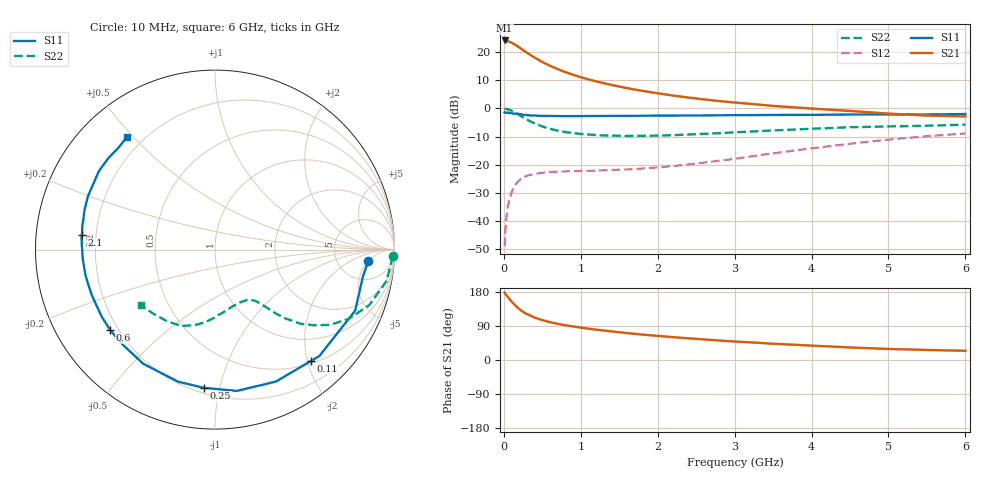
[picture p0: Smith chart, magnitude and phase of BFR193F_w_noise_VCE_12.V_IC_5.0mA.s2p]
! Infineon Technologies  Discrete & RF Semiconductors
! BFR193F
! VCE =  12. V,  IC =  5.0 mA
! Common Emitter S-Parameters:  Jan 2017
# GHz  S  MA  R  50
!  f  S11  S21  S12  S22
! GHz  MAG  ANG  MAG  ANG  MAG  ANG  MAG  ANG
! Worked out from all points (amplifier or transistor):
!   77 points, 10 MHz to 6 GHz, reference 50 ohm
!   highest |S21| = 24.1 dB at 10 MHz (marker M1)
!   |S21| within 3 dB of that: start of sweep to 228 MHz
!   unconditionally stable (mu >= 1): 1.871 GHz to 2.965 GHz
!   at 130 MHz: K = 0.11, MSG = 25.5 dB, |S12| = -28.0 dB
!   at 2.2 GHz: K = 1.06, MAG = 11.0 dB, |S12| = -20.4 dB
!   at 6 GHz: K = 0.75, MSG = 3.0 dB, |S12| = -8.9 dB
!   lowest NFmin = 0.81 dB at 450 MHz
!   S11 on the Smith chart (normalised r, x): 10 MHz: 11, -5; 110 MHz: 0.55, -2.06; 250 MHz: 0.23, -0.90; 600 MHz: 0.17, -0.33; 2.1 GHz: 0.15, +0.05; 6 GHz: 0.14, +0.48
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0.01  0.8571 -4.3  16.09 177.7  0.0036 84.5  0.9901 -2.2
0.02  0.8378 -10.1  15.94 174.5  0.0067 87.1  0.9843 -4.3
0.05  0.8518 -23.5  15.72 166.8  0.0173 77.9  0.9715 -10.4
0.1  0.8305 -45.5  14.77 154.2  0.0324 66.8  0.9137 -19.8
0.11  0.8187 -49.3  14.46 152.2  0.0348 64.8  0.8973 -21.2
0.15  0.8099 -65.2  13.43 143.5  0.0445 58.8  0.8376 -27.5
0.2  0.7967 -81.2  12.14 134.4  0.0532 51.7  0.7645 -33.3
0.25  0.7726 -94.6  10.83 127.0  0.059 46.2  0.6921 -37.5
0.3  0.7641 -105.6  9.755 121.1  0.0641 42.2  0.6335 -40.8
0.4  0.7513 -122.2  7.975 111.8  0.069 36.5  0.5414 -44.7
0.5  0.738 -133.7  6.67 105.2  0.0721 33.9  0.4786 -46.9
0.6  0.7363 -142.6  5.714 99.8  0.0746 32.2  0.4347 -48.2
0.7  0.7333 -149.5  4.988 95.4  0.0756 31.3  0.4041 -49.5
0.8  0.7297 -154.7  4.405 91.7  0.0763 31.3  0.3809 -50.7
1.1  0.7336 -166.5  3.282 82.6  0.0783 33.8  0.3451 -54.6
1.5  0.7385 -176.3  2.448 73.2  0.0818 40.8  0.3277 -61.6
2.1  0.7467 173.6  1.776 62.0  0.0925 53.5  0.3328 -73.7
2.6  0.7516 167.6  1.446 54.3  0.1094 62.8  0.3548 -83.2
3.1  0.7609 161.8  1.241 47.7  0.1336 70.1  0.3826 -91.4
4.1  0.7721 150.4  0.977 37.0  0.2034 75.3  0.4413 -106.9
5.1  0.7818 138.3  0.797 28.6  0.2874 72.0  0.4825 -125.8
6  0.7962 128.0  0.722 24.3  0.3597 65.8  0.517 -143.1
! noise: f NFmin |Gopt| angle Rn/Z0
0.45  0.81  0.31  100  0.1
0.9  1.01  0.45  136  0.09
1.9  1.9  0.63  -179  0.06
2.4  2.34  0.67  -168  0.11
